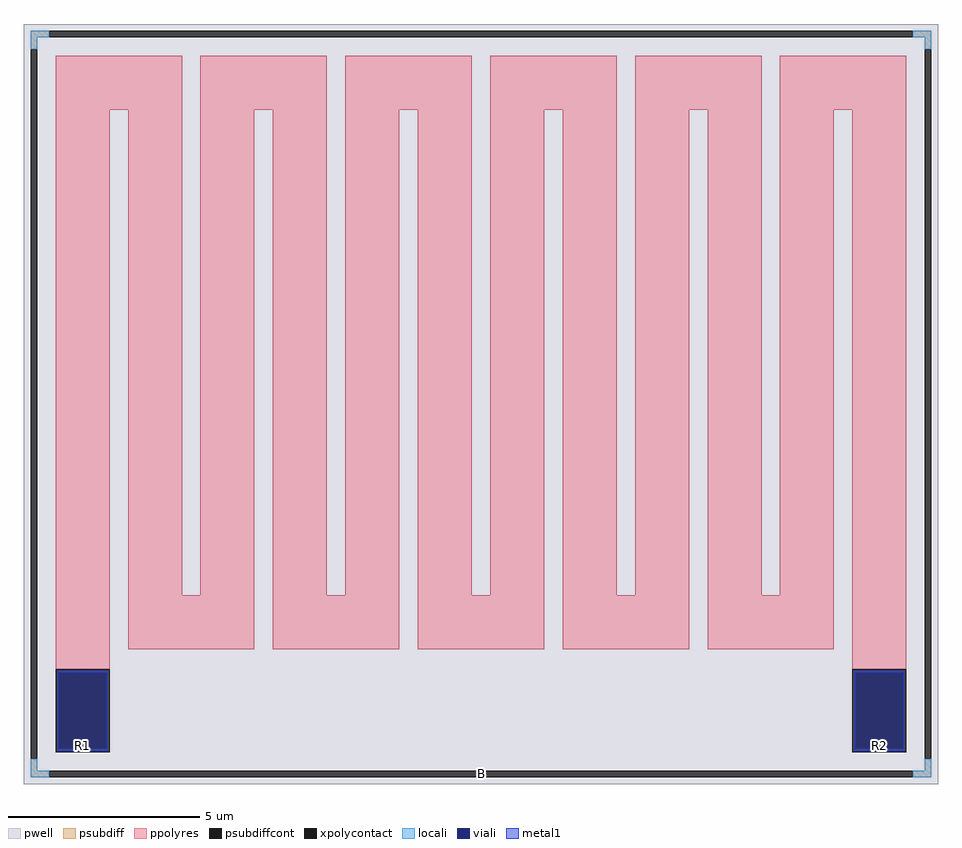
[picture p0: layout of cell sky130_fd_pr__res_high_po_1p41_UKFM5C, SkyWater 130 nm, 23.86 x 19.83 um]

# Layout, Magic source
magic
tech sky130A
magscale 1 2
<< pwell >>
rect -2386 -1983 2386 1983
<< psubdiff >>
rect -2350 1913 -2254 1947
rect 2254 1913 2350 1947
rect -2350 1851 -2316 1913
rect 2316 1851 2350 1913
rect -2350 -1913 -2316 -1851
rect 2316 -1913 2350 -1851
rect -2350 -1947 -2254 -1913
rect 2254 -1947 2350 -1913
<< psubdiffcont >>
rect -2254 1913 2254 1947
rect -2350 -1851 -2316 1851
rect 2316 -1851 2350 1851
rect -2254 -1947 2254 -1913
<< xpolycontact >>
rect -2220 -1817 -1938 -1385
rect 1938 -1817 2220 -1385
<< ppolyres >>
rect -2220 1535 -1560 1817
rect -2220 -1385 -1938 1535
rect -1842 -999 -1560 1535
rect -1464 1535 -804 1817
rect -1464 -999 -1182 1535
rect -1842 -1281 -1182 -999
rect -1086 -999 -804 1535
rect -708 1535 -48 1817
rect -708 -999 -426 1535
rect -1086 -1281 -426 -999
rect -330 -999 -48 1535
rect 48 1535 708 1817
rect 48 -999 330 1535
rect -330 -1281 330 -999
rect 426 -999 708 1535
rect 804 1535 1464 1817
rect 804 -999 1086 1535
rect 426 -1281 1086 -999
rect 1182 -999 1464 1535
rect 1560 1535 2220 1817
rect 1560 -999 1842 1535
rect 1182 -1281 1842 -999
rect 1938 -1385 2220 1535
<< locali >>
rect -2350 1913 -2254 1947
rect 2254 1913 2350 1947
rect -2350 1851 -2316 1913
rect 2316 1851 2350 1913
rect -2350 -1913 -2316 -1851
rect 2316 -1913 2350 -1851
rect -2350 -1947 -2254 -1913
rect 2254 -1947 2350 -1913
<< viali >>
rect -2204 -1799 -1954 -1402
rect 1954 -1799 2204 -1402
<< metal1 >>
rect -2210 -1402 -1948 -1390
rect -2210 -1799 -2204 -1402
rect -1954 -1799 -1948 -1402
rect -2210 -1811 -1948 -1799
rect 1948 -1402 2210 -1390
rect 1948 -1799 1954 -1402
rect 2204 -1799 2210 -1402
rect 1948 -1811 2210 -1799
<< labels >>
rlabel psubdiffcont 0 -1930 0 -1930 0 B
port 1 nsew
rlabel xpolycontact -2079 -1782 -2079 -1782 0 R1
port 2 nsew
rlabel xpolycontact 2079 -1782 2079 -1782 0 R2
port 3 nsew
<< properties >>
string FIXED_BBOX -2333 -1930 2333 1930
string gencell sky130_fd_pr__res_high_po_1p41
string library sky130
string parameters w 1.41 l 15.49 m 1 nx 12 wmin 1.410 lmin 0.50 class resistor rho 319.8 val 45.953k dummy 0 dw 0.0 term 194.82 sterm 0.0 caplen 0 guard 1 glc 1 grc 1 gtc 1 gbc 1 compatible {sky130_fd_pr__res_high_po_0p35  sky130_fd_pr__res_high_po_0p69 sky130_fd_pr__res_high_po_1p41  sky130_fd_pr__res_high_po_2p85 sky130_fd_pr__res_high_po_5p73} snake 1 full_metal 1 wmax 1.410 n_guard 0 hv_guard 0 vias 1 viagb 0 viagt 0 viagl 0 viagr 0 doports 1
<< end >>
